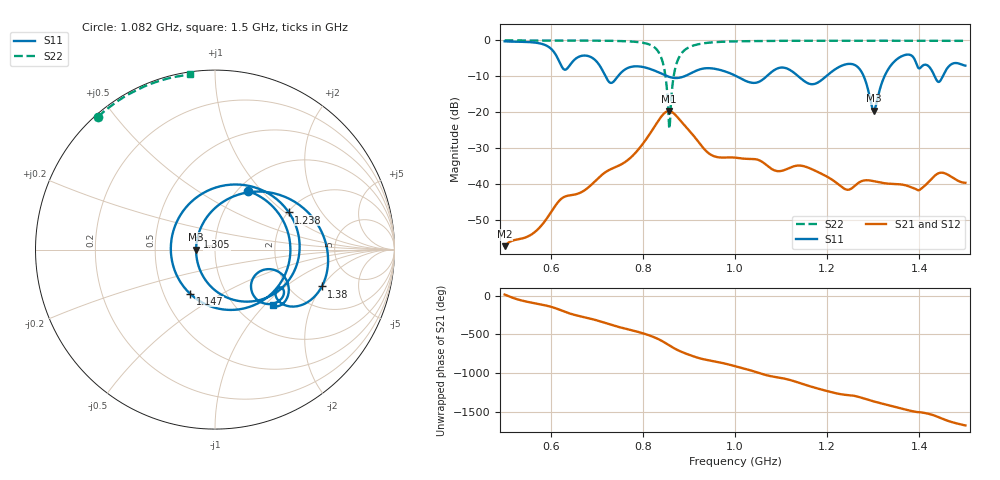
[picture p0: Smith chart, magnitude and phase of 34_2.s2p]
! TOUCHSTONE file generated by CST MICROWAVE STUDIO
! Date and time: Mon Nov 30 09:11:13 2020
! Project name: Scenario_1_Planar_Body_Tissue_Out_of_Line_v2.cst
! Parameters = {dy1=224.9; L_HA=400; Ltissue=700; MT=2.54; Rad_Dielectric=30; Rad_Lower=7.3; Rad_Upper=30; Wtissue=700; a_HA=580; a_WG=246; b_HA=500; b_WG=121; c_HA=0; c_WG=187; d_feed=85; dx1=346; h_feed=15; h_lower=18; h_upper=40; hfat=3; hgap=25; hmuscle=50; hskin=1.5}
! Header version: 2018
! Port assignment regex: !\s*Touchstone port\s*([0-9]+)\s*=\s*(CST MWS port|CST DS port)\s*([0-9]+|Zmin|Zmax)\s*\(\"(.*)\"\)(\s*mode\s*([0-9]+))?.*
! Touchstone port assignment:
! Touchstone port 1 = CST MWS port 1 ("")
! Touchstone port 2 = CST MWS port 2 ("")
# GHz S DB R 50
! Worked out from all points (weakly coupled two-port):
!   1003 points, 500 MHz to 1.5 GHz, reference 50 ohm
!   highest |S21| = -19.63 dB at 856 MHz (marker M1); lowest = -57.2 dB at 500 MHz (marker M2)
!   lowest |S11| = -19.5 dB at 1.301 GHz (marker M3), VSWR 1.24, Z = 40.5 + j0.0437 ohm
!   |S11| at or under -10 dB: 1.004 GHz to 1.068 GHz (64.46 MHz wide, 6.22 % of centre); 1.138 GHz to 1.198 GHz (59.86 MHz wide, 5.13 % of centre); 1.279 GHz to 1.324 GHz (44.81 MHz wide, 3.44 % of centre) (the widest 3 of 6)
!   |S22| runs from -24.6 to 0.0 dB; largest |S21 - S12| = 5.4e-06
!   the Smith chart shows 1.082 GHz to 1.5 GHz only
!   S11 on the Smith chart (normalised r, x): 1.082 GHz: 1.12, +0.85; 1.147 GHz: 0.68, -0.36; 1.238 GHz: 2.03, +1.06; 1.305 GHz: 0.82, +0.12; 1.38 GHz: 2.93, -1.99; 1.5 GHz: 1.44, -1.11
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0.5  -0.25 -121.8  -57.21 13.0  -57.21 13.0  -0.01 151.2
0.667  -4.29 157.9  -42.17 88.5  -42.17 88.5  -0.04 138.4
0.718  -9.73 29.1  -36.71 6.9  -36.71 6.9  -0.09 132.6
0.742  -10.62 -97.9  -35.15 -36.6  -35.15 -36.6  -0.14 129.0
0.772  -7.44 174.3  -32.77 -81.9  -32.77 -81.9  -0.28 122.7
0.834  -8.85 43.9  -22.28 156.7  -22.28 156.7  -3.21 83.4
0.856  -10.08 -11.4  -19.63 81.8  -19.63 81.8  -21.34 2.5
0.876  -10.43 -68.5  -21.46 14.9  -21.46 14.9  -5.41 -167.1
0.911  -8.71 177.0  -26.63 -67.0  -26.63 -67.0  -1.37 162.0
0.942  -7.71 79.9  -31.29 -114.6  -31.29 -114.6  -0.64 151.1
1  -9.74 -55.3  -32.59 168.5  -32.59 168.5  -0.26 140.3
1.048  -11.70 176.6  -33.12 88.3  -33.12 88.3  -0.18 134.7
1.082  -8.53 60.4  -35.91 34.5  -35.91 34.5  -0.13 131.4
1.147  -10.99 -119.6  -34.90 -61.5  -34.90 -61.5  -0.10 125.8
1.167  -12.18 -175.9  -35.81 -98.5  -35.81 -98.5  -0.10 124.2
1.238  -6.73 26.7  -41.28 159.6  -41.28 159.6  -0.09 118.8
1.275  -8.83 -52.4  -39.11 120.3  -39.11 120.3  -0.09 116.0
1.301  -19.54 179.7  -39.13 73.9  -39.13 73.9  -0.08 114.1
1.305  -18.46 144.0  -39.24 67.4  -39.24 67.4  -0.08 113.8
1.334  -7.71 51.8  -39.84 23.7  -39.84 23.7  -0.08 111.5
1.38  -4.02 -19.0  -40.71 -46.0  -40.71 -46.0  -0.09 108.0
1.5  -7.00 -43.7  -39.59 123.5  -39.59 123.5  -0.12 98.0
